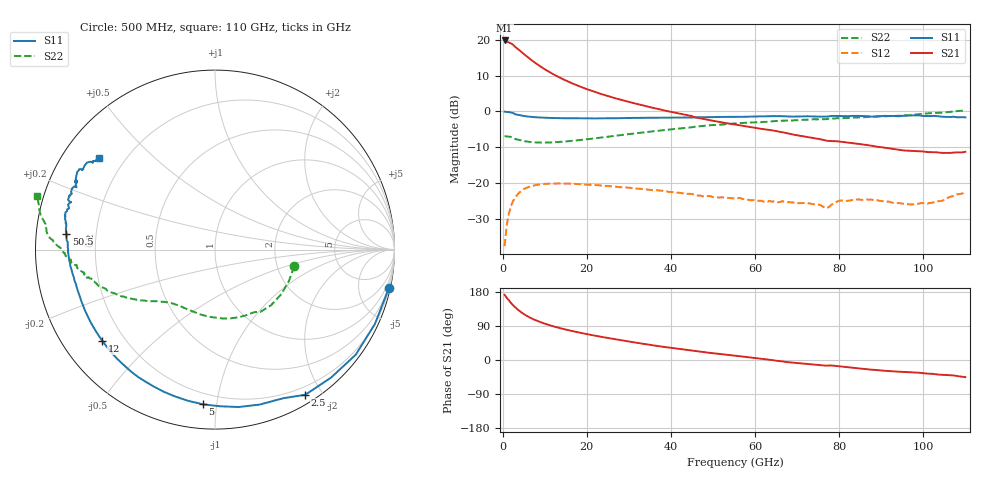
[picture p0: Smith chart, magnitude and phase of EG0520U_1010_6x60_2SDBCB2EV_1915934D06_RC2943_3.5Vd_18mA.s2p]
!File name = EG0520U_1010_6x60_2SDBCB2EV_1915934D06_RC2943_3.5Vd_18mA.s2p
!Base file name = EG0520U_1010_6x60_2SDBCB2EV_1915934D06_RC2943
!Date = 8/23/2019
!Time = 1:04 PM
!Test duration(min) = 0.15
!Test = S-Parameters
!MPTS version = 8.91.5
!State File = C:\Data\PNA\20190821205423\S-Parameters_2019-08-23.sta
!Cal File =
!ComputerName = CMPE-LAB-6
!Comments =
!Attenuation = 0
!Z0 = 50
!Input Power(dBm) = -13.00
!Device ID = EG0520U_1010_6x60_2SDBCB2EV
!Row = 29
!Column = 43
!Technology = QPHT09
!Lot/Wafer = 1915934D06
!Gate Size = 360
!Mask = EG0520
!Cal Standards = GaAs BCB
!Cal Kit = EG2306
!Job Number = 20190821205423
!Device Type = FET
!set_Vg(v) = -1.500
!set_Vd(v) = 3.500
!set_Vd(mA) = 18.000
!file_name = EG0520U_1010_6x60_2SDBCB2EV_1915934D06_RC2943_3.5Vd_18mA.s2p
!Vd(V) = 3.500
!Vd(mA) = 17.987
!Vg(V) = -0.630
!Vg(mA) = -0.006
# GHz  S  DB  R  50
!%	Freq(GHz)  s11(dB)  s11(deg)  s21(dB)  s21(deg)  s12(dB)  s12(deg)  s22(dB)  s22(deg)
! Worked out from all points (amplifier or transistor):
!   220 points, 500 MHz to 110 GHz, reference 50 ohm
!   highest |S21| = 19.8 dB at 500 MHz (marker M1)
!   |S21| within 3 dB of that: start of sweep to 4.269 GHz
!   unconditionally stable (mu >= 1): 37.06 GHz to 96.67 GHz
!   at 18.5 GHz: K = 0.51, MSG = 13.6 dB, |S12| = -20.3 dB
!   at 55.5 GHz: K = 1.48, MAG = 6.2 dB, |S12| = -24.4 dB
!   at 110 GHz: K = -1.38, MSG = 5.6 dB, |S12| = -22.5 dB
!   S11 on the Smith chart (normalised r, x): 500 MHz: 0.34, -9.07; 2.5 GHz: 0.10, -1.79; 5 GHz: 0.13, -0.92; 12 GHz: 0.12, -0.35; 50.5 GHz: 0.09, +0.05; 110 GHz: 0.11, +0.34
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0.5  -0.07 -12.6  19.84 172.1  -37.69 81.2  -6.92 -11.9
1  -0.15 -24.9  19.53 164.2  -31.86 74.9  -6.99 -23.0
2  -0.33 -47.7  19.03 150.6  -26.52 61.9  -7.13 -44.8
2.5  -0.42 -58.1  18.66 144.6  -25.06 56.4  -7.34 -54.0
3  -0.81 -65.3  18.04 139.3  -24.19 52.0  -7.71 -57.8
3.5  -0.93 -73.8  17.59 134.3  -23.34 47.6  -7.86 -65.1
4.5  -1.18 -88.2  16.60 125.5  -22.19 39.9  -8.12 -77.8
5  -1.26 -94.4  16.11 121.7  -21.80 36.7  -8.25 -83.2
6  -1.43 -105.2  15.16 114.9  -21.23 31.3  -8.47 -92.3
7.5  -1.60 -117.8  13.80 106.7  -20.71 24.7  -8.64 -102.9
9.5  -1.74 -129.9  12.19 98.0  -20.32 18.2  -8.73 -112.2
12  -1.85 -141.0  10.44 89.1  -20.17 12.0  -8.66 -120.7
15  -1.92 -150.2  8.66 80.4  -20.19 6.6  -8.41 -127.4
19  -1.96 -158.8  6.68 70.6  -20.37 1.2  -7.92 -133.3
26.5  -1.92 -168.9  3.78 55.2  -20.99 -5.3  -6.85 -140.8
37  -1.75 -177.9  0.67 36.7  -22.07 -10.3  -5.41 -149.2
50.5  -1.59 173.9  -2.72 17.4  -24.07 -12.2  -3.82 -159.9
55.5  -1.52 171.0  -3.72 11.1  -24.40 -12.5  -3.35 -162.9
73.5  -1.41 162.3  -7.37 -11.6  -25.89 -14.9  -2.21 -172.4
92  -1.29 153.5  -10.36 -29.4  -25.27 -25.1  -1.31 179.5
101  -1.28 148.9  -11.38 -35.7  -25.75 -21.8  -0.56 174.6
110  -1.67 141.8  -11.29 -45.3  -22.45 -26.4  0.31 163.3
